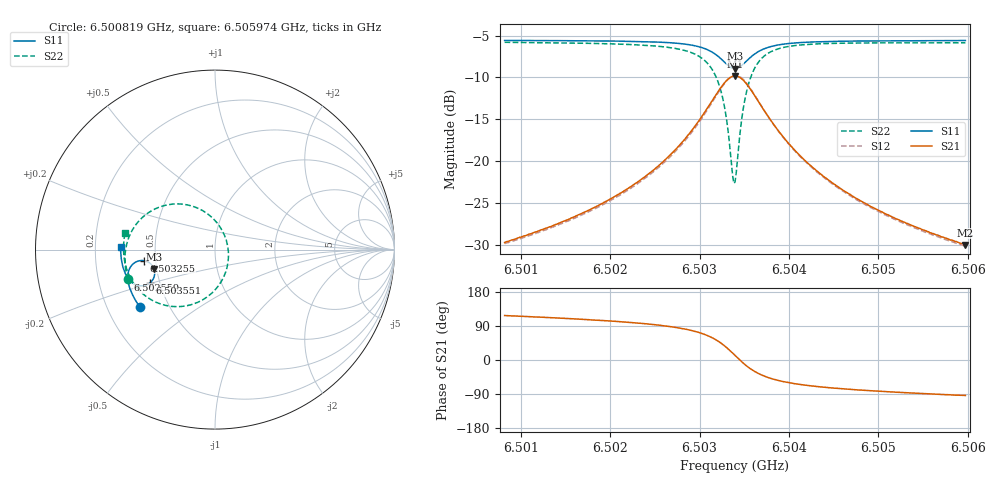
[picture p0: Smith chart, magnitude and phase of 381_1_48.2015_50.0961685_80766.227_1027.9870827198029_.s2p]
#  HZ  S  RI  R  50.00
! Rohde & Schwarz Vector Network Analyzer
! Rohde-Schwarz,ZNB20-2Port,1311601062101988,3.16
! Created: UTC 3/20/2024, 11:53:06 AM
! freq[Hz]  re:S11  im:S11  re:S21  im:S21  re:S12  im:S12  re:S22  im:S22
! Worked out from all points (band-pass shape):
!   401 points, 6.500819 GHz to 6.505974 GHz, reference 50 ohm
!   highest |S21| = -9.81 dB at 6.503397 GHz (marker M1); lowest = -30.0 dB at 6.505974 GHz (marker M2)
!   |S21| within 3 dB of the highest: 6.503139 GHz to 6.503655 GHz (515.8 kHz wide, 0.00793 % of centre)
!   lowest |S11| = -9.0 dB at 6.503397 GHz (marker M3), VSWR 2.11, Z = 24.2 - j6.08 ohm
!   |S11| at or under -10 dB: nowhere
!   |S22| runs from -22.7 to -5.8 dB; largest |S21 - S12| = 0.011
!   S11 on the Smith chart (normalised r, x): 6.500819 GHz: 0.34, -0.30; 6.502559 GHz: 0.33, -0.15; 6.503255 GHz: 0.43, -0.06; 6.503551 GHz: 0.44, -0.20; 6.505974 GHz: 0.31, +0.01
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6.500819e9  -0.4202 -0.3173  -0.015 0.029  -0.0134 0.0291  -0.4858 -0.1663
6.5016825e9  -0.4582 -0.2545  -0.0147 0.0464  -0.0123 0.046  -0.5011 -0.0763
6.5021465e9  -0.475 -0.2142  -0.0119 0.0649  -0.00895 0.0637  -0.4995 -0.0125
6.502546e9  -0.4851 -0.1712  -0.00318 0.0942  0.000405 0.092  -0.4813 0.0645
6.5025589e9  -0.4853 -0.1696  -0.00277 0.0955  0.000902 0.0934  -0.4802 0.0675
6.5028037e9  -0.4849 -0.1345  0.0153 0.1284  0.019 0.1247  -0.4424 0.1368
6.5029842e9  -0.4736 -0.1012  0.0495 0.1643  0.0526 0.1589  -0.3751 0.2027
6.5031517e9  -0.4395 -0.0682  0.126 0.1974  0.1273 0.1912  -0.2345 0.2538
6.5032548e9  -0.3974 -0.0611  0.2104 0.1891  0.2105 0.1838  -0.0879 0.227
6.5033064e9  -0.3721 -0.0695  0.2581 0.1618  0.2591 0.1572  -0.00833 0.1707
6.5033708e9  -0.3456 -0.0954  0.3056 0.0995  0.308 0.0946  0.0633 0.0508
6.5033966e9  -0.3392 -0.1097  0.3159 0.0679  0.3189 0.0621  0.0743 -0.00805
6.5034095e9  -0.3374 -0.1172  0.3186 0.0514  0.3217 0.0453  0.0751 -0.0381
6.5034868e9  -0.343 -0.1614  0.3025 -0.0419  0.3044 -0.0516  0.0194 -0.2014
6.5035512e9  -0.3638 -0.1869  0.2607 -0.0955  0.2595 -0.1065  -0.075 -0.2834
6.5036543e9  -0.4027 -0.202  0.1873 -0.1316  0.1822 -0.1408  -0.2222 -0.3175
6.5038219e9  -0.4482 -0.1924  0.107 -0.1289  0.1001 -0.1339  -0.3671 -0.2723
6.5040023e9  -0.4754 -0.171  0.0631 -0.1096  0.0571 -0.1117  -0.4384 -0.2085
6.5042601e9  -0.496 -0.141  0.0336 -0.0858  0.0289 -0.0863  -0.4813 -0.1373
6.5046467e9  -0.5116 -0.1013  0.0147 -0.0632  0.0115 -0.0627  -0.5036 -0.063
6.5051236e9  -0.521 -0.0576  0.00503 -0.047  0.00281 -0.0463  -0.5097 0.00276
6.5059742e9  -0.5258 0.014  -0.00198 -0.0315  -0.00332 -0.0308  -0.5015 0.0912
